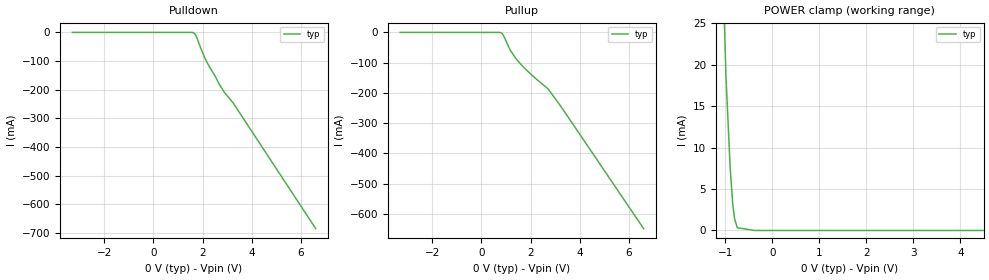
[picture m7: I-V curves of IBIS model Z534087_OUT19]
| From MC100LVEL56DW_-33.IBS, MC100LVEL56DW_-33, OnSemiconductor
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| (C) COPYRIGHT 1993-2000
| MENTOR GRAPHICS CORPORATION
| ICX STANDARD LIBRARY, ICX PROJECT MODELING,
| ICX CUSTOM MODELING, ICX VENDOR MODEL
| ALL RIGHTS RESERVED.
| THE FOLLOWING ARE TRADEMARKS OR SERVICE MARKS OF
| MENTOR GRAPHICS CORPORATION:ICX (R), ICX STANDARD
| LIBRARY(R), ICX PROJECT MODELING(R), ICX CUSTOM
| MODELING(R), qualityIBIS(TM), MODELVIEWER(TM),
| AND MODELEDITOR(TM)
| ALL COPIES OF SOFTWARE, INCLUDING BUT NOT LIMITED TO
| ANY MODIFICATIONS, ENHANCEMENTS OR DERIVATIVE WORKS,
| MUST CONTAIN ALL MENTOR GRAPHICS CORPORATION'S
| NOTICES AND LEGENDS, INCLUDING THOSE EMBEDDED IN
| SOFTWARE AND THOSE AFFIXED TO SOFTWARE MEDIUM
| AND CONTAINER, AS RECEIVED FROM MENTOR GRAPHICS
| CORPORATION.
| Model Application Version 1.89 2/18/99.
[Model] Z534087_OUT19
Model_type Output_ECL
Vref=-2.000V
Rref=50.00ohms
Cref=0.000F
Vmeas=-1.350V
C_comp 2.000pF NA NA
| variable typ   min   max
[Voltage Range] -3.300V NA NA
[POWER Clamp Reference] 0.000V NA NA
[Pullup Reference] 0.000V NA NA
[Pulldown Reference] 0.000V NA NA
[GND Clamp Reference] -3.300V NA NA
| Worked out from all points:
|   POWER clamp passes 1 mA (typ) near -0.78 V on its own axis
[GND Clamp]
-3.3V     0A         NA         NA
6.6V      0A         NA         NA
[Pulldown]
-3.3V     13.3uA     NA         NA
1.542V    -31.43uA   NA         NA
1.661V    -3.061mA   NA         NA
1.783V    -22.26mA   NA         NA
1.924V    -55.47mA   NA         NA
2.106V    -92.41mA   NA         NA
2.261V    -117.7mA   NA         NA
2.493V    -150.1mA   NA         NA
2.66V     -178.6mA   NA         NA
2.891V    -210.1mA   NA         NA
3.237V    -245.7mA   NA         NA
6.6V      -685.1mA   NA         NA
[Pullup]
-3.3V     57.86uA    NA         NA
698.3mV   -22.2uA    NA         NA
837.9mV   -3.034mA   NA         NA
907.2mV   -11.61mA   NA         NA
1.162V    -57.13mA   NA         NA
1.393V    -85.37mA   NA         NA
1.852V    -126mA     NA         NA
2.679V    -184.2mA   NA         NA
3.237V    -245mA     NA         NA
6.6V      -648.7mA   NA         NA
[POWER Clamp]
-3.3V     652.5mA    NA         NA
-1.053V   31.27mA    NA         NA
-987.2mV  18.57mA    NA         NA
-896.9mV  7.427mA    NA         NA
-842.3mV  3.139mA    NA         NA
-804.5mV  1.428mA    NA         NA
-746.8mV  328.5uA    NA         NA
-373.4mV  0A         NA         NA
6.6V      0A         NA         NA
[Ramp]
| variable typ min max
dV/dt_r 471.5m/520.3p NA NA
dV/dt_f 471.5m/531.7p NA NA
R_load = 50.0Ohms
